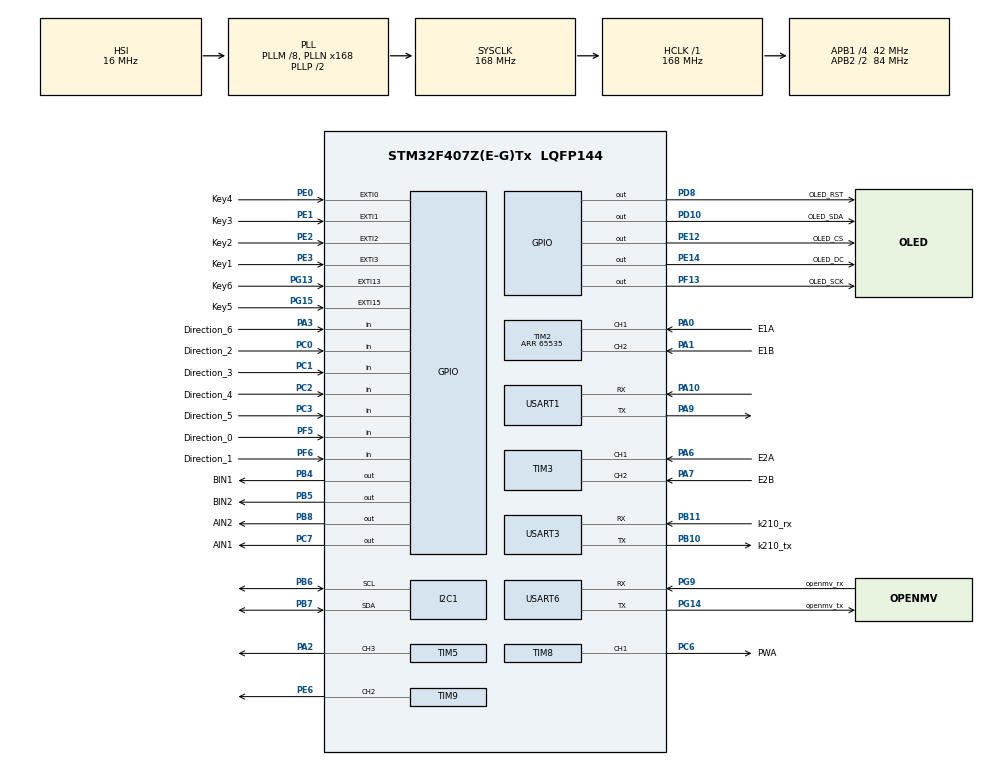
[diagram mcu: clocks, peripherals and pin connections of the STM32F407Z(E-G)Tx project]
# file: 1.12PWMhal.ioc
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I2C1.DualAddressMode=I2C_DUALADDRESS_DISABLE
I2C1.NoStretchMode=I2C_NOSTRETCH_DISABLE
I2C1.OwnAddress=0x50
Mcu.Family=STM32F4
Mcu.Name=STM32F407Z(E-G)Tx
Mcu.Package=LQFP144
NVIC.EXTI0_IRQn=true\:0\:0\:true\:false\:true\:true\:true\:true
NVIC.EXTI1_IRQn=true\:0\:1\:true\:false\:true\:true\:true\:true
NVIC.EXTI2_IRQn=true\:0\:2\:true\:false\:true\:true\:true\:true
NVIC.EXTI3_IRQn=true\:0\:3\:true\:false\:true\:true\:true\:true
NVIC.FPU_IRQn=true\:0\:0\:false\:false\:true\:true\:false\:true
NVIC.I2C1_ER_IRQn=true\:1\:0\:true\:false\:true\:true\:true\:true
NVIC.I2C1_EV_IRQn=true\:1\:0\:true\:false\:true\:true\:true\:true
NVIC.PriorityGroup=NVIC_PRIORITYGROUP_2
NVIC.RTC_WKUP_IRQn=true\:3\:0\:true\:false\:true\:true\:true\:true
NVIC.TIM1_UP_TIM10_IRQn=true\:0\:0\:true\:false\:true\:true\:true\:true
NVIC.TIM2_IRQn=true\:0\:0\:true\:false\:true\:true\:true\:true
NVIC.TIM3_IRQn=true\:0\:0\:true\:false\:true\:true\:true\:true
NVIC.TIM4_IRQn=true\:0\:0\:false\:false\:true\:true\:true\:true
NVIC.USART3_IRQn=true\:0\:0\:false\:false\:true\:true\:true\:true
NVIC.USART6_IRQn=true\:0\:0\:false\:false\:true\:true\:true\:true
PA0-WKUP.GPIO_Label=E1A
PA0-WKUP.GPIO_Speed=GPIO_SPEED_FREQ_VERY_HIGH
PA0-WKUP.Signal=S_TIM2_CH1_ETR
PA1.GPIO_Label=E1B
PA1.GPIO_Speed=GPIO_SPEED_FREQ_VERY_HIGH
PA1.Signal=S_TIM2_CH2
PA10.Mode=Asynchronous
PA10.Signal=USART1_RX
PA13.Mode=Serial_Wire
PA13.Signal=SYS_JTMS-SWDIO
PA14.Mode=Serial_Wire
PA14.Signal=SYS_JTCK-SWCLK
PA2.Signal=S_TIM5_CH3
PA3.GPIO_Label=Direction_6
PA3.GPIO_Mode=GPIO_MODE_INPUT
PA3.Signal=GPIO_Input
PA6.GPIO_Label=E2A
PA6.GPIO_ModeDefaultPP=GPIO_MODE_AF_PP
PA6.GPIO_Speed=GPIO_SPEED_FREQ_VERY_HIGH
PA6.Signal=S_TIM3_CH1
PA7.GPIO_Label=E2B
PA7.GPIO_ModeDefaultPP=GPIO_MODE_AF_PP
PA7.GPIO_Speed=GPIO_SPEED_FREQ_VERY_HIGH
PA7.Signal=S_TIM3_CH2
PA9.Mode=Asynchronous
PA9.Signal=USART1_TX
PB10.GPIO_Label=k210_tx
PB10.Mode=Asynchronous
PB10.Signal=USART3_TX
PB11.GPIO_Label=k210_rx
PB11.Mode=Asynchronous
PB11.Signal=USART3_RX
PB4.GPIO_Label=BIN1
PB4.PinState=GPIO_PIN_SET
PB4.Signal=GPIO_Output
PB5.GPIO_Label=BIN2
PB5.PinState=GPIO_PIN_RESET
PB5.Signal=GPIO_Output
PB6.Mode=I2C
PB6.Signal=I2C1_SCL
PB7.Mode=I2C
PB7.Signal=I2C1_SDA
PB8.GPIO_Label=AIN2
PB8.PinState=GPIO_PIN_RESET
PB8.Signal=GPIO_Output
PC0.GPIO_Label=Direction_2
PC0.Signal=GPIO_Input
PC1.GPIO_Label=Direction_3
PC1.Signal=GPIO_Input
PC2.GPIO_Label=Direction_4
PC2.Signal=GPIO_Input
PC3.GPIO_Label=Direction_5
PC3.Signal=GPIO_Input
PC6.GPIO_Label=PWA
PC6.Signal=S_TIM8_CH1
PC7.GPIO_Label=AIN1
PC7.PinState=GPIO_PIN_SET
PC7.Signal=GPIO_Output
PD10.GPIO_Label=OLED_SDA
PD10.GPIO_Speed=GPIO_SPEED_FREQ_VERY_HIGH
PD10.PinState=GPIO_PIN_SET
PD10.Signal=GPIO_Output
PD8.GPIO_Label=OLED_RST
PD8.GPIO_Speed=GPIO_SPEED_FREQ_VERY_HIGH
PD8.PinState=GPIO_PIN_SET
PD8.Signal=GPIO_Output
PE0.GPIO_Label=Key4
PE0.GPIO_ModeDefaultEXTI=GPIO_MODE_IT_FALLING
PE0.GPIO_PuPd=GPIO_PULLUP
PE0.Signal=GPXTI0
PE1.GPIO_Label=Key3
PE1.GPIO_ModeDefaultEXTI=GPIO_MODE_IT_FALLING
PE1.GPIO_PuPd=GPIO_PULLUP
PE1.Signal=GPXTI1
PE12.GPIO_Label=OLED_CS
PE12.GPIO_Speed=GPIO_SPEED_FREQ_VERY_HIGH
PE12.PinState=GPIO_PIN_SET
PE12.Signal=GPIO_Output
PE14.GPIO_Label=OLED_DC
PE14.GPIO_Speed=GPIO_SPEED_FREQ_VERY_HIGH
PE14.PinState=GPIO_PIN_SET
PE14.Signal=GPIO_Output
PE2.GPIO_Label=Key2
PE2.GPIO_ModeDefaultEXTI=GPIO_MODE_IT_FALLING
PE2.GPIO_PuPd=GPIO_PULLUP
PE2.Signal=GPXTI2
PE3.GPIO_Label=Key1
PE3.GPIO_ModeDefaultEXTI=GPIO_MODE_IT_FALLING
PE3.GPIO_PuPd=GPIO_PULLUP
PE3.Signal=GPXTI3
PE6.Signal=S_TIM9_CH2
PF13.GPIO_Label=OLED_SCK
PF13.GPIO_Speed=GPIO_SPEED_FREQ_VERY_HIGH
PF13.PinState=GPIO_PIN_SET
PF13.Signal=GPIO_Output
PF5.GPIO_Label=Direction_0
PF5.Signal=GPIO_Input
PF6.GPIO_Label=Direction_1
PF6.Signal=GPIO_Input
PG13.GPIO_Label=Key6
PG13.Signal=GPXTI13
PG14.GPIO_Label=openmv_tx
PG14.Mode=Asynchronous
PG14.Signal=USART6_TX
PG15.GPIO_Label=Key5
PG15.Signal=GPXTI15
PG9.GPIO_Label=openmv_rx
PG9.Mode=Asynchronous
PG9.Signal=USART6_RX
PH0-OSC_IN.Mode=HSE-External-Oscillator
PH0-OSC_IN.Signal=RCC_OSC_IN
PH1-OSC_OUT.Mode=HSE-External-Oscillator
PH1-OSC_OUT.Signal=RCC_OSC_OUT
ProjectManager.HeapSize=0x200
ProjectManager.StackSize=0x400
ProjectManager.TargetToolchain=MDK-ARM V5.32
RCC.48MHZClocksFreq_Value=84000000
RCC.AHBFreq_Value=168000000
RCC.APB1CLKDivider=RCC_HCLK_DIV4
RCC.APB1Freq_Value=42000000
RCC.APB1TimFreq_Value=84000000
RCC.APB2CLKDivider=RCC_HCLK_DIV2
RCC.APB2Freq_Value=84000000
RCC.APB2TimFreq_Value=168000000
RCC.CortexFreq_Value=168000000
RCC.HCLKFreq_Value=168000000
RCC.HSE_VALUE=25000000
RCC.HSI_VALUE=16000000
RCC.LSE_VALUE=32768
RCC.PLLM=8
RCC.PLLN=168
RCC.SYSCLKFreq_VALUE=168000000
RCC.SYSCLKSource=RCC_SYSCLKSOURCE_PLLCLK
RCC.VCOOutputFreq_Value=336000000
RTC.WakeUpClock=RTC_WAKEUPCLOCK_CK_SPRE_16BITS
SH.S_TIM2_CH1_ETR.0=TIM2_CH1,Encoder_Interface
SH.S_TIM2_CH2.0=TIM2_CH2,Encoder_Interface
SH.S_TIM3_CH1.0=TIM3_CH1,Encoder_Interface
SH.S_TIM3_CH2.0=TIM3_CH2,Encoder_Interface
SH.S_TIM5_CH3.0=TIM5_CH3,PWM Generation3 CH3
SH.S_TIM8_CH1.0=TIM8_CH1,PWM Generation1 CH1
SH.S_TIM9_CH2.0=TIM9_CH2,PWM Generation2 CH2
TIM1.AutoReloadPreload=TIM_AUTORELOAD_PRELOAD_ENABLE
TIM1.Period=19999
TIM1.Prescaler=167
TIM2.AutoReloadPreload=TIM_AUTORELOAD_PRELOAD_ENABLE
TIM2.EncoderMode=TIM_ENCODERMODE_TI12
TIM2.IC1Filter=5
TIM2.IC1Polarity=TIM_ICPOLARITY_FALLING
TIM2.IC2Filter=5
TIM2.IC2Polarity=TIM_ICPOLARITY_RISING
TIM2.Period=65535
TIM3.AutoReloadPreload=TIM_AUTORELOAD_PRELOAD_ENABLE
TIM3.EncoderMode=TIM_ENCODERMODE_TI12
TIM3.IC1Filter=5
TIM3.IC1Polarity=TIM_ICPOLARITY_RISING
TIM3.IC2Filter=5
TIM3.IC2Polarity=TIM_ICPOLARITY_RISING
TIM3.IC2Prescaler=TIM_ICPSC_DIV1
TIM4.AutoReloadPreload=TIM_AUTORELOAD_PRELOAD_ENABLE
TIM4.Period=999
TIM4.Prescaler=8399
TIM5.Channel-PWM\ Generation3\ CH3=TIM_CHANNEL_3
TIM5.Period=999
TIM5.Prescaler=83
TIM8.Channel-PWM\ Generation1\ CH1=TIM_CHANNEL_1
TIM8.Period=999
TIM8.Prescaler=167
TIM9.AutoReloadPreload=TIM_AUTORELOAD_PRELOAD_DISABLE
TIM9.Channel-PWM\ Generation2\ CH2=TIM_CHANNEL_2
TIM9.Period=999
TIM9.Prescaler=167
USART1.VirtualMode=VM_ASYNC
USART3.VirtualMode=VM_ASYNC
USART6.VirtualMode=VM_ASYNC
VP_RTC_VS_RTC_Activate.Mode=RTC_Enabled
VP_RTC_VS_RTC_Calendar.Mode=RTC_Calendar
VP_RTC_VS_RTC_WakeUp_intern.Mode=WakeUp
VP_TIM1_VS_ClockSourceINT.Mode=Internal
VP_TIM4_VS_ClockSourceINT.Mode=Internal
VP_TIM5_VS_ClockSourceINT.Mode=Internal
VP_TIM8_VS_ClockSourceINT.Mode=Internal
VP_TIM9_VS_ClockSourceINT.Mode=Internal
board=custom

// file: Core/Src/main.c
/* USER CODE BEGIN Header */
/**
  ******************************************************************************
  * @file           : main.c
  * @brief          : Main program body
  ******************************************************************************
  * @attention
  *
  * Copyright (c) 2025 STMicroelectronics.
  * All rights reserved.
  *
  * This software is licensed under terms that can be found in the LICENSE file
  * in the root directory of this software component.
  * If no LICENSE file comes with this software, it is provided AS-IS.
  *
  ******************************************************************************
  */
/* USER CODE END Header */
#include "main.h"
#include "i2c.h"
#include "rtc.h"
#include "tim.h"
#include "usart.h"
#include "gpio.h"

/* USER CODE BEGIN Includes */
#include "OLED.h"
#include "stdio.h"
#include <string.h>
#include "stdlib.h"
#include "motor_control.h"
#include "tramsmit.h"
/* USER CODE END Includes */

/* USER CODE BEGIN PTD */
///陈which小女友hyf
/* USER CODE END PTD */

/* USER CODE BEGIN PV */

uint32_t last_key_time = 0;

/* USER CODE END PV */

void SystemClock_Config(void);

/* USER CODE BEGIN 0 */
void HAL_TIM_PeriodElapsedCallback(TIM_HandleTypeDef *htim) {
  if (htim->Instance == TIM1) {  //T=0.02s
    motor_control_in_TIM1();
	}
	else if(htim->Instance==TIM2){

	}
	else if(htim->Instance==TIM3){

  }
	else if(htim->Instance==TIM4){  //T=0.1s

		OLED_Update();
		/*if(alarm_enable==1){
			__HAL_TIM_SET_COMPARE(&htim5, TIM_CHANNEL_3, 500);
			beep_time++;
		}
		if(beep_time>=5){
			__HAL_TIM_SET_COMPARE(&htim5, TIM_CHANNEL_3, 0);
			alarm_enable=0;
			beep_time=0;
		}*/
  }
}
void HAL_GPIO_EXTI_Callback(uint16_t GPIO_Pin) {
    if (HAL_GetTick() - last_key_time > 10) { // 200ms防抖
        last_key_time = HAL_GetTick();
        if (GPIO_Pin == Key1_Pin) {

        } else if (GPIO_Pin == Key2_Pin) {

        } else if (GPIO_Pin == Key3_Pin) {

				}
				else if(GPIO_Pin==Key4_Pin){

				}
				else if(GPIO_Pin==Key5_Pin){

				}
    }
}

/* USER CODE END 0 */

int main(void)
{

  /* MCU Configuration--------------------------------------------------------*/

  /* Reset of all peripherals, Initializes the Flash interface and the Systick. */
  HAL_Init();

  /* Configure the system clock */
  SystemClock_Config();

  /* Initialize all configured peripherals */
  MX_GPIO_Init();
  MX_RTC_Init();
  MX_USART1_UART_Init();
  MX_TIM3_Init();
  MX_TIM1_Init();
  MX_TIM9_Init();
  MX_TIM2_Init();
  MX_I2C1_Init();
  MX_TIM5_Init();
  MX_USART6_UART_Init();
  MX_TIM8_Init();
  MX_TIM4_Init();
  MX_USART3_UART_Init();
  /* USER CODE BEGIN 2 */
	//MPU6050_Init(&hi2c1);

  /*if(HAL_GPIO_ReadPin(BIN1_GPIO_Port,BIN1_Pin)==GPIO_PIN_SET){
    TIM2->CNT=65535;
  }*/
  //PID_Init(&left_motor_pid, 7.0f, 22.0f, 0.01f, SAMPLE_TIME,pwm_max); //    6.0f, 0.6f, 0.1f, SAMPLE_TIME
	//PID_Init(&right_motor_pid, 7.0f, 22.0, 0.01f, SAMPLE_TIME,pwm_max); //

	//PID_Init(&angle_pid,6.0f,0.6f,0.01f,SAMPLE_TIME,target_rpm[0]);   //角度pid

	HAL_TIM_Encoder_Start(&htim3, TIM_CHANNEL_ALL);
	HAL_TIM_Encoder_Start(&htim2, TIM_CHANNEL_ALL);
	HAL_TIM_Base_Start_IT(&htim1);
	HAL_TIM_Base_Start_IT(&htim4);
	HAL_TIM_PWM_Start(&htim8,TIM_CHANNEL_1);
	HAL_TIM_PWM_Start(&htim9,TIM_CHANNEL_2);
	HAL_TIM_PWM_Start(&htim5,TIM_CHANNEL_3);
	//OLED

	OLED_Init();
	OLED_Update();
	//USART
  HAL_UART_Receive_IT(&huart1, (uint8_t *)&rx_char1, 1);  //启动 USART 接收中断
	HAL_UART_Receive_IT(&huart3, (uint8_t *)&rx_char3, 1);  //启动 USART 接收中断
	HAL_UART_Receive_IT(&huart6, (uint8_t*)&received_byte, 1);  //启动 USART 接收中断
  /* USER CODE END 2 */

  /* Infinite loop */
  while (1)
  {

  }
}

void SystemClock_Config(void)
{
  RCC_OscInitTypeDef RCC_OscInitStruct = {0};
  RCC_ClkInitTypeDef RCC_ClkInitStruct = {0};

  /** Configure the main internal regulator output voltage
  */
  __HAL_RCC_PWR_CLK_ENABLE();
  __HAL_PWR_VOLTAGESCALING_CONFIG(PWR_REGULATOR_VOLTAGE_SCALE1);

  /** Initializes the RCC Oscillators according to the specified parameters
  * in the RCC_OscInitTypeDef structure.
  */
  RCC_OscInitStruct.OscillatorType = RCC_OSCILLATORTYPE_HSI|RCC_OSCILLATORTYPE_LSI;
  RCC_OscInitStruct.HSIState = RCC_HSI_ON;
  RCC_OscInitStruct.HSICalibrationValue = RCC_HSICALIBRATION_DEFAULT;
  RCC_OscInitStruct.LSIState = RCC_LSI_ON;
  RCC_OscInitStruct.PLL.PLLState = RCC_PLL_ON;
  RCC_OscInitStruct.PLL.PLLSource = RCC_PLLSOURCE_HSI;
  RCC_OscInitStruct.PLL.PLLM = 8;
  RCC_OscInitStruct.PLL.PLLN = 168;
  RCC_OscInitStruct.PLL.PLLP = RCC_PLLP_DIV2;
  RCC_OscInitStruct.PLL.PLLQ = 4;
  if (HAL_RCC_OscConfig(&RCC_OscInitStruct) != HAL_OK)
  {
    Error_Handler();
  }

  /** Initializes the CPU, AHB and APB buses clocks
  */
  RCC_ClkInitStruct.ClockType = RCC_CLOCKTYPE_HCLK|RCC_CLOCKTYPE_SYSCLK
                              |RCC_CLOCKTYPE_PCLK1|RCC_CLOCKTYPE_PCLK2;
  RCC_ClkInitStruct.SYSCLKSource = RCC_SYSCLKSOURCE_PLLCLK;
  RCC_ClkInitStruct.AHBCLKDivider = RCC_SYSCLK_DIV1;
  RCC_ClkInitStruct.APB1CLKDivider = RCC_HCLK_DIV4;
  RCC_ClkInitStruct.APB2CLKDivider = RCC_HCLK_DIV2;

  if (HAL_RCC_ClockConfig(&RCC_ClkInitStruct, FLASH_LATENCY_5) != HAL_OK)
  {
    Error_Handler();
  }
}

void Error_Handler(void)
{
  __disable_irq();
  while (1)
  {
  }
}
